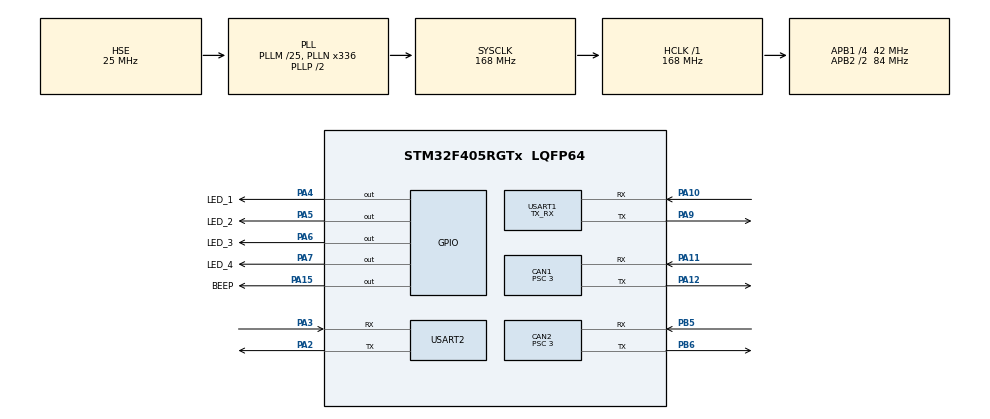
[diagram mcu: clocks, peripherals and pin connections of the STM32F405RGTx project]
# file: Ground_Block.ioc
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CAN1.ABOM=ENABLE
CAN1.AWUM=ENABLE
CAN1.BS1=CAN_BS1_9TQ
CAN1.BS2=CAN_BS2_4TQ
CAN1.CalculateBaudRate=1000000
CAN1.CalculateTimeBit=1000
CAN1.CalculateTimeQuantum=71.42857142857143
CAN1.NART=ENABLE
CAN1.Prescaler=3
CAN1.RFLM=DISABLE
CAN2.ABOM=ENABLE
CAN2.AWUM=ENABLE
CAN2.BS1=CAN_BS1_9TQ
CAN2.BS2=CAN_BS2_4TQ
CAN2.CalculateBaudRate=1000000
CAN2.CalculateTimeBit=1000
CAN2.CalculateTimeQuantum=71.42857142857143
CAN2.NART=ENABLE
CAN2.Prescaler=3
Dma.Request0=USART1_RX
Dma.Request1=USART1_TX
Dma.Request2=USART2_RX
Dma.Request3=USART2_TX
Dma.USART1_RX.0.Direction=DMA_PERIPH_TO_MEMORY
Dma.USART1_RX.0.FIFOMode=DMA_FIFOMODE_DISABLE
Dma.USART1_RX.0.Instance=DMA2_Stream2
Dma.USART1_RX.0.MemDataAlignment=DMA_MDATAALIGN_BYTE
Dma.USART1_RX.0.MemInc=DMA_MINC_ENABLE
Dma.USART1_RX.0.Mode=DMA_NORMAL
Dma.USART1_RX.0.PeriphDataAlignment=DMA_PDATAALIGN_BYTE
Dma.USART1_RX.0.PeriphInc=DMA_PINC_DISABLE
Dma.USART1_RX.0.Priority=DMA_PRIORITY_LOW
Dma.USART1_TX.1.Direction=DMA_MEMORY_TO_PERIPH
Dma.USART1_TX.1.FIFOMode=DMA_FIFOMODE_DISABLE
Dma.USART1_TX.1.Instance=DMA2_Stream7
Dma.USART1_TX.1.MemDataAlignment=DMA_MDATAALIGN_BYTE
Dma.USART1_TX.1.MemInc=DMA_MINC_ENABLE
Dma.USART1_TX.1.Mode=DMA_NORMAL
Dma.USART1_TX.1.PeriphDataAlignment=DMA_PDATAALIGN_BYTE
Dma.USART1_TX.1.PeriphInc=DMA_PINC_DISABLE
Dma.USART1_TX.1.Priority=DMA_PRIORITY_LOW
Dma.USART2_RX.2.Direction=DMA_PERIPH_TO_MEMORY
Dma.USART2_RX.2.FIFOMode=DMA_FIFOMODE_DISABLE
Dma.USART2_RX.2.Instance=DMA1_Stream5
Dma.USART2_RX.2.MemDataAlignment=DMA_MDATAALIGN_BYTE
Dma.USART2_RX.2.MemInc=DMA_MINC_ENABLE
Dma.USART2_RX.2.Mode=DMA_NORMAL
Dma.USART2_RX.2.PeriphDataAlignment=DMA_PDATAALIGN_BYTE
Dma.USART2_RX.2.PeriphInc=DMA_PINC_DISABLE
Dma.USART2_RX.2.Priority=DMA_PRIORITY_LOW
Dma.USART2_TX.3.Direction=DMA_MEMORY_TO_PERIPH
Dma.USART2_TX.3.FIFOMode=DMA_FIFOMODE_DISABLE
Dma.USART2_TX.3.Instance=DMA1_Stream6
Dma.USART2_TX.3.MemDataAlignment=DMA_MDATAALIGN_BYTE
Dma.USART2_TX.3.MemInc=DMA_MINC_ENABLE
Dma.USART2_TX.3.Mode=DMA_NORMAL
Dma.USART2_TX.3.PeriphDataAlignment=DMA_PDATAALIGN_BYTE
Dma.USART2_TX.3.PeriphInc=DMA_PINC_DISABLE
Dma.USART2_TX.3.Priority=DMA_PRIORITY_LOW
FREERTOS.Tasks01=LedTask,24,128,LedWaterTask,As weak,NULL,Dynamic,NULL,NULL;BeepTask,24,128,BeepAlarmTask,As weak,NULL,Dynamic,NULL,NULL;Ground_Block,9,128,Ground_Block_Task,As weak,NULL,Dynamic,NULL,NULL
Mcu.Family=STM32F4
Mcu.Name=STM32F405RGTx
Mcu.Package=LQFP64
NVIC.CAN1_RX0_IRQn=true\:5\:0\:true\:false\:true\:true\:true\:true\:true
NVIC.CAN1_RX1_IRQn=true\:5\:0\:true\:false\:true\:true\:true\:true\:true
NVIC.CAN2_RX0_IRQn=true\:5\:0\:false\:false\:true\:true\:true\:true\:true
NVIC.CAN2_RX1_IRQn=true\:5\:0\:false\:false\:true\:true\:true\:true\:true
NVIC.DMA1_Stream5_IRQn=true\:5\:0\:false\:false\:true\:true\:false\:true\:true
NVIC.DMA1_Stream6_IRQn=true\:5\:0\:false\:false\:true\:true\:false\:true\:true
NVIC.DMA2_Stream2_IRQn=true\:5\:0\:false\:false\:true\:true\:false\:true\:true
NVIC.DMA2_Stream7_IRQn=true\:5\:0\:false\:false\:true\:true\:false\:true\:true
NVIC.PriorityGroup=NVIC_PRIORITYGROUP_4
NVIC.TIM1_UP_TIM10_IRQn=true\:15\:0\:false\:false\:true\:false\:false\:true\:true
NVIC.TIM2_IRQn=true\:5\:0\:true\:false\:true\:true\:true\:true\:true
NVIC.TIM3_IRQn=true\:5\:0\:true\:false\:true\:true\:true\:true\:true
NVIC.TimeBase=TIM1_UP_TIM10_IRQn
NVIC.TimeBaseIP=TIM1
NVIC.USART1_IRQn=true\:5\:0\:true\:false\:true\:true\:true\:true\:true
NVIC.USART2_IRQn=true\:5\:0\:true\:false\:true\:true\:true\:true\:true
PA10.GPIO_PuPd=GPIO_PULLUP
PA10.GPIO_Speed=GPIO_SPEED_FREQ_VERY_HIGH
PA10.Mode=Asynchronous
PA10.Signal=USART1_RX
PA11.Mode=CAN_Activate
PA11.Signal=CAN1_RX
PA12.Mode=CAN_Activate
PA12.Signal=CAN1_TX
PA15.GPIO_Label=BEEP
PA15.GPIO_PuPd=GPIO_PULLDOWN
PA15.Signal=GPIO_Output
PA2.Mode=Asynchronous
PA2.Signal=USART2_TX
PA3.GPIO_PuPd=GPIO_PULLUP
PA3.Mode=Asynchronous
PA3.Signal=USART2_RX
PA4.GPIO_Label=LED_1
PA4.GPIO_ModeDefaultOutputPP=GPIO_MODE_OUTPUT_PP
PA4.GPIO_PuPd=GPIO_PULLDOWN
PA4.GPIO_Speed=GPIO_SPEED_FREQ_LOW
PA4.PinState=GPIO_PIN_RESET
PA4.Signal=GPIO_Output
PA5.GPIO_Label=LED_2
PA5.GPIO_PuPd=GPIO_PULLDOWN
PA5.Signal=GPIO_Output
PA6.GPIO_Label=LED_3
PA6.GPIO_PuPd=GPIO_PULLDOWN
PA6.Signal=GPIO_Output
PA7.GPIO_Label=LED_4
PA7.GPIO_PuPd=GPIO_PULLDOWN
PA7.Signal=GPIO_Output
PA9.Mode=Asynchronous
PA9.Signal=USART1_TX
PB5.Mode=CAN_Activate
PB5.Signal=CAN2_RX
PB6.Mode=CAN_Activate
PB6.Signal=CAN2_TX
PH0-OSC_IN.Mode=HSE-External-Oscillator
PH0-OSC_IN.Signal=RCC_OSC_IN
PH1-OSC_OUT.Mode=HSE-External-Oscillator
PH1-OSC_OUT.Signal=RCC_OSC_OUT
ProjectManager.HeapSize=0x800
ProjectManager.StackSize=0x400
ProjectManager.TargetToolchain=MDK-ARM V5.32
RCC.48MHZClocksFreq_Value=84000000
RCC.AHBFreq_Value=168000000
RCC.APB1CLKDivider=RCC_HCLK_DIV4
RCC.APB1Freq_Value=42000000
RCC.APB1TimFreq_Value=84000000
RCC.APB2CLKDivider=RCC_HCLK_DIV2
RCC.APB2Freq_Value=84000000
RCC.APB2TimFreq_Value=168000000
RCC.CortexFreq_Value=168000000
RCC.HCLKFreq_Value=168000000
RCC.HSE_VALUE=25000000
RCC.HSI_VALUE=16000000
RCC.LSE_VALUE=32768
RCC.PLLM=25
RCC.PLLN=336
RCC.PLLSourceVirtual=RCC_PLLSOURCE_HSE
RCC.SYSCLKFreq_VALUE=168000000
RCC.SYSCLKSource=RCC_SYSCLKSOURCE_PLLCLK
RCC.VCOOutputFreq_Value=336000000
TIM2.Period=1000-1
TIM2.Prescaler=84-1
TIM3.AutoReloadPreload=TIM_AUTORELOAD_PRELOAD_DISABLE
TIM3.Period=1000-1
TIM3.Prescaler=84-1
USART1.Mode=MODE_TX_RX
USART1.VirtualMode=VM_ASYNC
USART2.VirtualMode=VM_ASYNC
VP_FREERTOS_VS_CMSIS_V2.Mode=CMSIS_V2
VP_SYS_VS_tim1.Mode=TIM1
VP_TIM2_VS_ClockSourceINT.Mode=Internal
VP_TIM3_VS_ClockSourceINT.Mode=Internal
board=custom

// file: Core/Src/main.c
/* USER CODE BEGIN Header */
/**
 ******************************************************************************
 * @file           : main.c
 * @brief          : Main program body
 ******************************************************************************
 * @attention
 *
 * Copyright (c) 2026 STMicroelectronics.
 * All rights reserved.
 *
 * This software is licensed under terms that can be found in the LICENSE file
 * in the root directory of this software component.
 * If no LICENSE file comes with this software, it is provided AS-IS.
 *
 ******************************************************************************
 */
/* USER CODE END Header */
#include "main.h"
#include "cmsis_os.h"
#include "can.h"
#include "dma.h"
#include "tim.h"
#include "usart.h"
#include "gpio.h"

/* USER CODE BEGIN Includes */
#include "Beep.h"
#include "Led.h"
#include "EXTI_IRQHandler.h"
#include "TIM_IRQHandler.h"
#include "UART_IRQHandler.h"
#include "Solenoid.h"

/* USER CODE END Includes */

void SystemClock_Config(void);
void MX_FREERTOS_Init(void);

int main(void)
{

  /* MCU Configuration--------------------------------------------------------*/

  /* Reset of all peripherals, Initializes the Flash interface and the Systick. */
  HAL_Init();

  /* Configure the system clock */
  SystemClock_Config();

  /* Initialize all configured peripherals */
  MX_GPIO_Init();
  MX_DMA_Init();
  MX_TIM2_Init();
  MX_TIM3_Init();
  MX_USART1_UART_Init();
  MX_CAN1_Init();
  MX_USART2_UART_Init();
  MX_CAN2_Init();
  /* USER CODE BEGIN 2 */
  Beep_Init();
  CAN_InitSendQueue();
  UART_Start_Recieve();
  solenoid_init(3);
#if USE_DJ
  DJmotor_Init();
#endif
#if USE_ZMDR
  ZdriveInit();
#endif
  Ground_Block_Init();
  /* USER CODE END 2 */

  /* Init scheduler */
  osKernelInitialize();  /* Call init function for freertos objects (in cmsis_os2.c) */
  MX_FREERTOS_Init();

  /* Start scheduler */
  osKernelStart();

  /* We should never get here as control is now taken by the scheduler */

  /* Infinite loop */
  while (1)
  {

  }
}

void SystemClock_Config(void)
{
  RCC_OscInitTypeDef RCC_OscInitStruct = {0};
  RCC_ClkInitTypeDef RCC_ClkInitStruct = {0};

  /** Configure the main internal regulator output voltage
  */
  __HAL_RCC_PWR_CLK_ENABLE();
  __HAL_PWR_VOLTAGESCALING_CONFIG(PWR_REGULATOR_VOLTAGE_SCALE1);

  /** Initializes the RCC Oscillators according to the specified parameters
  * in the RCC_OscInitTypeDef structure.
  */
  RCC_OscInitStruct.OscillatorType = RCC_OSCILLATORTYPE_HSE;
  RCC_OscInitStruct.HSEState = RCC_HSE_ON;
  RCC_OscInitStruct.PLL.PLLState = RCC_PLL_ON;
  RCC_OscInitStruct.PLL.PLLSource = RCC_PLLSOURCE_HSE;
  RCC_OscInitStruct.PLL.PLLM = 25;
  RCC_OscInitStruct.PLL.PLLN = 336;
  RCC_OscInitStruct.PLL.PLLP = RCC_PLLP_DIV2;
  RCC_OscInitStruct.PLL.PLLQ = 4;
  if (HAL_RCC_OscConfig(&RCC_OscInitStruct) != HAL_OK)
  {
    Error_Handler();
  }

  /** Initializes the CPU, AHB and APB buses clocks
  */
  RCC_ClkInitStruct.ClockType = RCC_CLOCKTYPE_HCLK|RCC_CLOCKTYPE_SYSCLK
                              |RCC_CLOCKTYPE_PCLK1|RCC_CLOCKTYPE_PCLK2;
  RCC_ClkInitStruct.SYSCLKSource = RCC_SYSCLKSOURCE_PLLCLK;
  RCC_ClkInitStruct.AHBCLKDivider = RCC_SYSCLK_DIV1;
  RCC_ClkInitStruct.APB1CLKDivider = RCC_HCLK_DIV4;
  RCC_ClkInitStruct.APB2CLKDivider = RCC_HCLK_DIV2;

  if (HAL_RCC_ClockConfig(&RCC_ClkInitStruct, FLASH_LATENCY_5) != HAL_OK)
  {
    Error_Handler();
  }
}

void HAL_TIM_PeriodElapsedCallback(TIM_HandleTypeDef *htim)
{
  if (htim->Instance == TIM1)
  {
    HAL_IncTick();
  }
  /* USER CODE BEGIN Callback 1 */
    TIM_PeriodElapsedCallback(htim);
  /* USER CODE END Callback 1 */
}

void Error_Handler(void)
{
    __disable_irq();
    while (1)
    {
    }
}

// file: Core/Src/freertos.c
/* USER CODE BEGIN Header */
/**
  ******************************************************************************
  * File Name          : freertos.c
  * Description        : Code for freertos applications
  ******************************************************************************
  * @attention
  *
  * Copyright (c) 2026 STMicroelectronics.
  * All rights reserved.
  *
  * This software is licensed under terms that can be found in the LICENSE file
  * in the root directory of this software component.
  * If no LICENSE file comes with this software, it is provided AS-IS.
  *
  ******************************************************************************
  */
/* USER CODE END Header */

#include "FreeRTOS.h"
#include "task.h"
#include "main.h"
#include "cmsis_os.h"

/* Definitions for LedTask */
osThreadId_t LedTaskHandle;
const osThreadAttr_t LedTask_attributes = {
  .name = "LedTask",
  .stack_size = 128 * 4,
  .priority = (osPriority_t) osPriorityNormal,
};
/* Definitions for BeepTask */
osThreadId_t BeepTaskHandle;
const osThreadAttr_t BeepTask_attributes = {
  .name = "BeepTask",
  .stack_size = 128 * 4,
  .priority = (osPriority_t) osPriorityNormal,
};
/* Definitions for Ground_Block */
osThreadId_t Ground_BlockHandle;
const osThreadAttr_t Ground_Block_attributes = {
  .name = "Ground_Block",
  .stack_size = 128 * 4,
  .priority = (osPriority_t) osPriorityLow1,
};

void LedWaterTask(void *argument);
void BeepAlarmTask(void *argument);
void Ground_Block_Task(void *argument);

void MX_FREERTOS_Init(void); /* (MISRA C 2004 rule 8.1) */

void MX_FREERTOS_Init(void) {

  /* Create the thread(s) */
  /* creation of LedTask */
  LedTaskHandle = osThreadNew(LedWaterTask, NULL, &LedTask_attributes);

  /* creation of BeepTask */
  BeepTaskHandle = osThreadNew(BeepAlarmTask, NULL, &BeepTask_attributes);

  /* creation of Ground_Block */
  Ground_BlockHandle = osThreadNew(Ground_Block_Task, NULL, &Ground_Block_attributes);

}

__weak void LedWaterTask(void *argument)
{
  for(;;)
  {
    osDelay(1);
  }
}

__weak void BeepAlarmTask(void *argument)
{
  for(;;)
  {
    osDelay(1);
  }
}

__weak void Ground_Block_Task(void *argument)
{
  for(;;)
  {
    osDelay(1);
  }
}
